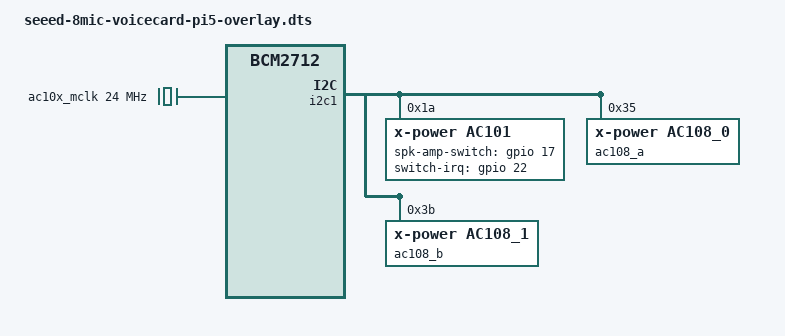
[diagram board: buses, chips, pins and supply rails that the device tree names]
/*
 * ReSpeaker 8-Mic (6-Mic circular array) overlay for Raspberry Pi 5
 * Uses i2s_clk_consumer (Pi as I2S slave) - AC108 provides BCLK/LRCLK
 */
/dts-v1/;
/plugin/;

/ {
	compatible = "brcm,bcm2712";

	fragment@0 {
		target = <&i2s_clk_consumer>;
		__overlay__ {
			#sound-dai-cells = <0>;
			status = "okay";
		};
	};

	fragment@1 {
		target-path = "/";
		__overlay__ {
			ac10x_mclk: codec-mclk {
				compatible = "fixed-clock";
				#clock-cells = <0>;
				clock-frequency = <24000000>;
			};
		};
	};

	fragment@2 {
		target = <&gpio>;
		__overlay__ {
			spk_amp_pins: spk_pins {
				brcm,pins = <17 22>;
				brcm,function = <1 0>;
				brcm,pull = <0 0>;
			};
			gpclk0_pins: gpclk0_pins {
				brcm,pins = <4>;
				brcm,function = <4>;
				brcm,pull = <0>;
			};
		};
	};

	fragment@3 {
		target = <&i2c1>;
		__overlay__ {
			#address-cells = <1>;
			#size-cells = <0>;
			status = "okay";

			ac101: ac101@1a {
				compatible = "x-power,ac101";
				pinctrl-names = "default";
				pinctrl-0 = <&spk_amp_pins &gpclk0_pins>;
				spk-amp-switch-gpios = <&gpio 17 0>;
				switch-irq-gpios = <&gpio 22 0>;
				reg = <0x1a>;
				#sound-dai-cells = <0>;
			};

			ac108_a: ac108@35 {
				compatible = "x-power,ac108_0";
				reg = <0x35>;
				#sound-dai-cells = <0>;
				data-protocol = <0>;
				tdm-chips-count = <2>;
			};

			ac108_b: ac108@3b {
				compatible = "x-power,ac108_1";
				reg = <0x3b>;
				#sound-dai-cells = <0>;
				data-protocol = <0>;
				tdm-chips-count = <2>;
			};
		};
	};

	fragment@4 {
		target = <&sound>;
		__overlay__ {
			compatible = "seeed-voicecard";
			seeed-voice-card,name = "seeed-8mic-voicecard";
			seeed-voice-card,channels-playback-override = <8>;
			seeed-voice-card,channels-capture-override  = <8>;
			#address-cells = <1>;
			#size-cells = <0>;
			status = "okay";

			seeed-voice-card,dai-link@0 {
				format = "dsp_a";
				bitclock-master = <&codec0_dai>;
				frame-master = <&codec0_dai>;
				reg = <0>;

				cpu {
					sound-dai = <&i2s_clk_consumer>;
					dai-tdm-slot-num     = <8>;
					dai-tdm-slot-width   = <32>;
					/* RP1 consumer mode: only 1 channel works; try full mask */
					dai-tdm-slot-tx-mask = <1 1 1 1 1 1 1 1>;
					dai-tdm-slot-rx-mask = <1 1 1 1 1 1 1 1>;
				};

				codec0_dai: codec {
					sound-dai = <&ac108_a>;
					clocks = <&ac10x_mclk>;
					system-clock-id = <1>;
				};
			};
		};
	};
};
